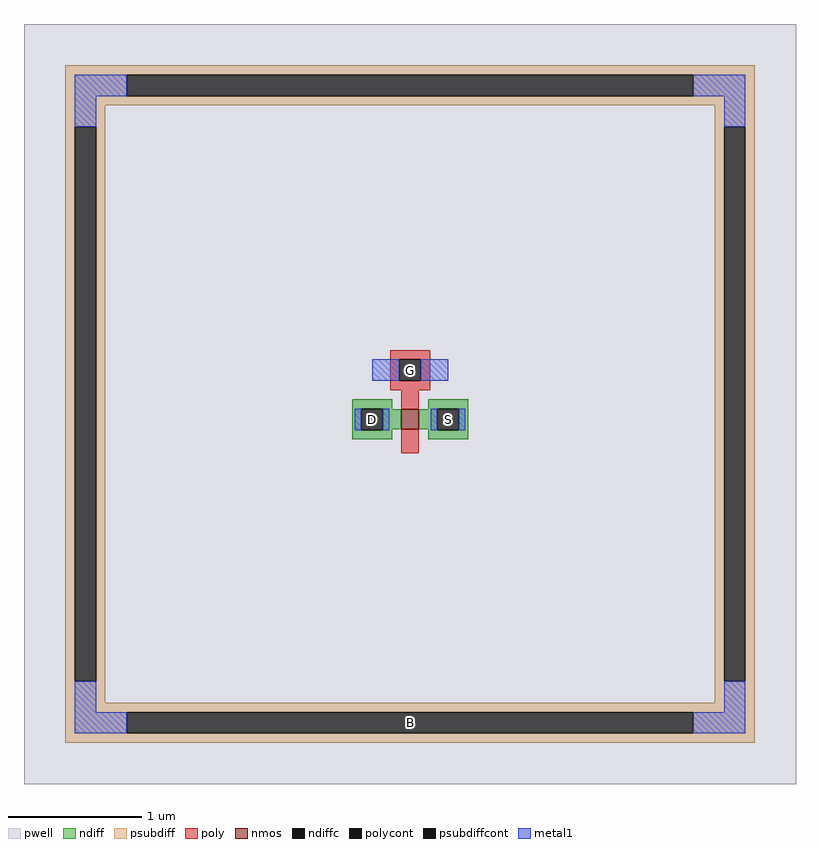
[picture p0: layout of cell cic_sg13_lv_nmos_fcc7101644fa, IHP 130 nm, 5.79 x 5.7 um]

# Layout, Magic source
magic
tech ihp-sg13cmos5l
magscale 1 2
<< pwell >>
rect -579 -570 579 570
<< nmos >>
rect -13 -38 13 -8
<< ndiff >>
rect -87 -7 -27 7
rect -87 -39 -73 -7
rect -41 -8 -27 -7
rect 27 -7 87 7
rect 27 -8 41 -7
rect -41 -38 -13 -8
rect 13 -38 41 -8
rect -41 -39 -27 -38
rect -87 -53 -27 -39
rect 27 -39 41 -38
rect 73 -39 87 -7
rect 27 -53 87 -39
<< ndiffc >>
rect -73 -39 -41 -7
rect 41 -39 73 -7
<< psubdiff >>
rect -517 494 517 508
rect -517 462 -425 494
rect 425 462 517 494
rect -517 448 517 462
rect -517 416 -457 448
rect -517 -416 -503 416
rect -471 -416 -457 416
rect 457 416 517 448
rect -517 -448 -457 -416
rect 457 -416 471 416
rect 503 -416 517 416
rect 457 -448 517 -416
rect -517 -462 517 -448
rect -517 -494 -425 -462
rect 425 -494 517 -462
rect -517 -508 517 -494
<< psubdiffcont >>
rect -425 462 425 494
rect -503 -416 -471 416
rect 471 -416 503 416
rect -425 -494 425 -462
<< poly >>
rect -30 67 30 81
rect -30 35 -16 67
rect 16 35 30 67
rect -30 21 30 35
rect -13 -8 13 21
rect -13 -74 13 -38
<< polycont >>
rect -16 35 16 67
<< metal1 >>
rect -503 462 -425 494
rect 425 462 503 494
rect -503 416 -471 462
rect 471 416 503 462
rect -57 35 -16 67
rect 16 35 57 67
rect -83 -39 -73 -7
rect -41 -39 -31 -7
rect 31 -39 41 -7
rect 73 -39 83 -7
rect -503 -462 -471 -416
rect 471 -462 503 -416
rect -503 -494 -425 -462
rect 425 -494 503 -462
<< labels >>
rlabel psubdiffcont 0 -478 0 -478 0 B
port 1 nsew
rlabel ndiffc -57 -23 -57 -23 0 D
port 2 nsew
rlabel ndiffc 57 -23 57 -23 0 S
port 3 nsew
rlabel polycont 0 51 0 51 0 G
port 4 nsew
<< properties >>
string FIXED_BBOX -487 -478 487 478
string gencell sg13_lv_nmos
string library sg13cmos5l
string parameters w 0.15 l 0.13 m 1 ng 1 diffcov 100 polycov 100 guard 1 glc 1 grc 1 gtc 1 gbc 1 tbcov 100 rlcov 100 topc 1 botc 0 poverlap 0 doverlap 1 lmin 0.13 wmin 0.15 class mosfet compatible {sg13_lv_nmos sg13_hv_nmos} full_metal 1 conn_gates 1 gate_ring 0 doports 1 viasrc 0 viadrn 0 viagate 0 ccols 1 viagb 0 viagr 0 viagl 0 viagt 0 set_x_to_guard 2.0 set_y_to_guard 2.0
<< end >>
